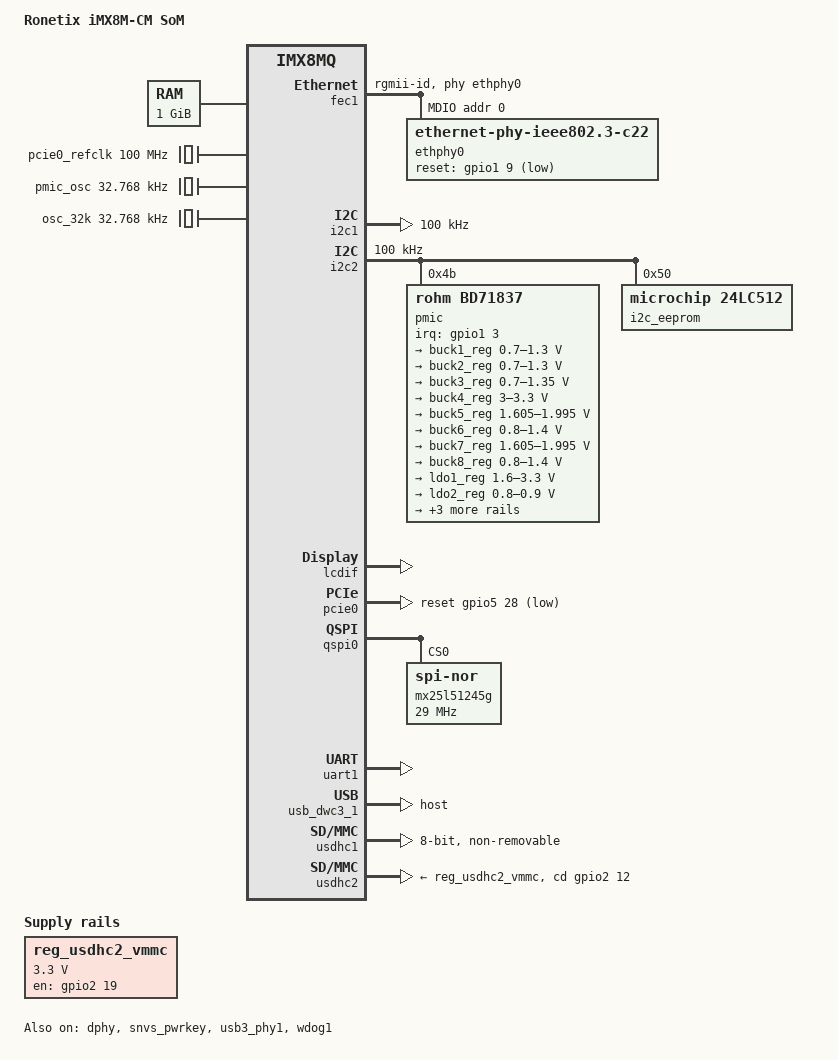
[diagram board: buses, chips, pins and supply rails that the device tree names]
// SPDX-License-Identifier: (GPL-2.0 OR MIT)
/*
 * Copyright 2017 NXP
 * Copyright (C) 2021 Ronetix, Ilko Iliev <iliev@ronetix.at>
 */

/dts-v1/;

#include "imx8mq.dtsi"

/ {
	model = "Ronetix iMX8M-CM SoM";
	compatible = "ronetix,imx8mq-cm", "fsl,imx8mq";

	chosen {
		stdout-path = &uart1;
	};

	memory@40000000 {
		device_type = "memory";
		reg = <0x00000000 0x40000000 0 0x40000000>;
	};

	pcie0_refclk: pcie0-refclk {
		compatible = "fixed-clock";
		#clock-cells = <0>;
		clock-frequency = <100000000>;
	};

	pmic_osc: clock-pmic {
		compatible = "fixed-clock";
		#clock-cells = <0>;
		clock-frequency = <32768>;
		clock-output-names = "pmic_osc";
	};

	osc_32k: clock-osc-32k {
		compatible = "fixed-clock";
		#clock-cells = <0>;
		clock-frequency = <32768>;
		clock-output-names = "osc_32k";
	};

	reg_usdhc2_vmmc: regulator-vsd-3v3 {
		pinctrl-names = "default";
		pinctrl-0 = <&pinctrl_reg_usdhc2>;
		compatible = "regulator-fixed";
		regulator-name = "VSD_3V3";
		regulator-min-microvolt = <3300000>;
		regulator-max-microvolt = <3300000>;
		gpio = <&gpio2 19 GPIO_ACTIVE_HIGH>;
		enable-active-high;
	};
};

&A53_0 {
	cpu-supply = <&buck2_reg>;
};

&A53_1 {
	cpu-supply = <&buck2_reg>;
};

&A53_2 {
	cpu-supply = <&buck2_reg>;
};

&A53_3 {
	cpu-supply = <&buck2_reg>;
};

&ddrc {
	operating-points-v2 = <&ddrc_opp_table>;

	ddrc_opp_table: opp-table {
		compatible = "operating-points-v2";

		opp-25M {
			opp-hz = /bits/ 64 <25000000>;
		};

		opp-100M {
			opp-hz = /bits/ 64 <100000000>;
		};

		/*
		 * On imx8mq B0 PLL can't be bypassed so low bus is 166M
		 */
		opp-166M {
			opp-hz = /bits/ 64 <166935483>;
		};

		opp-800M {
			opp-hz = /bits/ 64 <800000000>;
		};
	};
};

&dphy {
	status = "okay";
};

&fec1 {
	pinctrl-names = "default";
	pinctrl-0 = <&pinctrl_fec1>;
	phy-mode = "rgmii-id";
	phy-handle = <&ethphy0>;
	fsl,magic-packet;
	status = "okay";

	mdio {
		#address-cells = <1>;
		#size-cells = <0>;

		ethphy0: ethernet-phy@0 {
			compatible = "ethernet-phy-ieee802.3-c22";
			reg = <0>;
			reset-gpios = <&gpio1 9 GPIO_ACTIVE_LOW>;
			reset-assert-us = <10000>;
		};
	};
};

&i2c1 {
	clock-frequency = <100000>;
	pinctrl-names = "default";
	pinctrl-0 = <&pinctrl_i2c1>;
	status = "okay";
};

&i2c2 {
	clock-frequency = <100000>;
	pinctrl-names = "default";
	pinctrl-0 = <&pinctrl_i2c2>;
	status = "okay";

	pmic@4b {
		compatible = "rohm,bd71837";
		reg = <0x4b>;
		pinctrl-names = "default";
		pinctrl-0 = <&pinctrl_pmic>;
		interrupt-parent = <&gpio1>;
		interrupts = <3 IRQ_TYPE_LEVEL_LOW>;
		rohm,reset-snvs-powered;

		#clock-cells = <0>;
		clocks = <&osc_32k 0>;
		clock-output-names = "clk-32k-out";

		regulators {
			buck1_reg: BUCK1 {
				regulator-name = "buck1";
				regulator-min-microvolt = <700000>;
				regulator-max-microvolt = <1300000>;
				regulator-boot-on;
				regulator-always-on;
				regulator-ramp-delay = <1250>;
			};

			buck2_reg: BUCK2 {
				regulator-name = "buck2";
				regulator-min-microvolt = <700000>;
				regulator-max-microvolt = <1300000>;
				regulator-boot-on;
				regulator-always-on;
				regulator-ramp-delay = <1250>;
				rohm,dvs-run-voltage = <1000000>;
				rohm,dvs-idle-voltage = <900000>;
			};

			buck3_reg: BUCK3 {
				// BUCK5 in datasheet
				regulator-name = "buck3";
				regulator-min-microvolt = <700000>;
				regulator-max-microvolt = <1350000>;
				regulator-boot-on;
				regulator-always-on;
			};

			buck4_reg: BUCK4 {
				// BUCK6 in datasheet
				regulator-name = "buck4";
				regulator-min-microvolt = <3000000>;
				regulator-max-microvolt = <3300000>;
				regulator-boot-on;
				regulator-always-on;
			};

			buck5_reg: BUCK5 {
				// BUCK7 in datasheet
				regulator-name = "buck5";
				regulator-min-microvolt = <1605000>;
				regulator-max-microvolt = <1995000>;
				regulator-boot-on;
				regulator-always-on;
			};

			buck6_reg: BUCK6 {
				// BUCK8 in datasheet
				regulator-name = "buck6";
				regulator-min-microvolt = <800000>;
				regulator-max-microvolt = <1400000>;
				regulator-boot-on;
				regulator-always-on;
			};

			buck7_reg: BUCK7 {
				regulator-name = "buck7";
				regulator-min-microvolt = <1605000>;
				regulator-max-microvolt = <1995000>;
				regulator-boot-on;
			};

			buck8_reg: BUCK8 {
				regulator-name = "buck8";
				regulator-min-microvolt = <800000>;
				regulator-max-microvolt = <1400000>;
				regulator-boot-on;
			};

			ldo1_reg: LDO1 {
				regulator-name = "ldo1";
				regulator-min-microvolt = <1600000>;
				regulator-max-microvolt = <3300000>;
				regulator-boot-on;
				regulator-always-on;
			};

			ldo2_reg: LDO2 {
				regulator-name = "ldo2";
				regulator-min-microvolt = <800000>;
				regulator-max-microvolt = <900000>;
				regulator-boot-on;
				regulator-always-on;
			};

			ldo3_reg: LDO3 {
				regulator-name = "ldo3";
				regulator-min-microvolt = <1800000>;
				regulator-max-microvolt = <3300000>;
				regulator-boot-on;
				regulator-always-on;
			};

			ldo4_reg: LDO4 {
				regulator-name = "ldo4";
				regulator-min-microvolt = <900000>;
				regulator-max-microvolt = <1800000>;
				regulator-boot-on;
				regulator-always-on;
			};

			ldo6_reg: LDO6 {
				regulator-name = "ldo6";
				regulator-min-microvolt = <900000>;
				regulator-max-microvolt = <1800000>;
				regulator-boot-on;
				regulator-always-on;
			};
		};
	};

	i2c_eeprom: i2c_eeprom@50 {
		compatible = "microchip,24lc512";
		reg = <0x50>;
		pagesize = <128>;
	};
};

&lcdif {
	status = "okay";
};

&pcie0 {
	pinctrl-names = "default";
	pinctrl-0 = <&pinctrl_pcie0>;
	reset-gpio = <&gpio5 28 GPIO_ACTIVE_LOW>;
	clocks = <&clk IMX8MQ_CLK_PCIE1_ROOT>,
		 <&clk IMX8MQ_CLK_PCIE1_AUX>,
		 <&clk IMX8MQ_CLK_PCIE1_PHY>,
		 <&pcie0_refclk>;
	clock-names = "pcie", "pcie_aux", "pcie_phy", "pcie_bus";
	status = "okay";
};

&pgc_gpu {
	power-supply = <&buck3_reg>;
};

&qspi0 {
	pinctrl-names = "default";
	pinctrl-0 = <&pinctrl_qspi>;
	status = "okay";

	mx25l51245g: flash@0 {
		reg = <0>;
		#address-cells = <1>;
		#size-cells = <1>;
		compatible = "jedec,spi-nor";
		spi-max-frequency = <29000000>;
	};
};

&snvs_pwrkey {
	status = "okay";
};

&uart1 {
	pinctrl-names = "default";
	pinctrl-0 = <&pinctrl_uart1>;
	status = "okay";
};

&usb3_phy1 {
	status = "okay";
};

&usb_dwc3_1 {
	dr_mode = "host";
	status = "okay";
};

&usdhc1 {
	assigned-clocks = <&clk IMX8MQ_CLK_USDHC1>;
	assigned-clock-rates = <400000000>;
	pinctrl-names = "default", "state_100mhz", "state_200mhz";
	pinctrl-0 = <&pinctrl_usdhc1>;
	pinctrl-1 = <&pinctrl_usdhc1_100mhz>;
	pinctrl-2 = <&pinctrl_usdhc1_200mhz>;
	vqmmc-supply = <&buck7_reg>;
	bus-width = <8>;
	non-removable;
	no-sd;
	no-sdio;
	status = "okay";
};

&usdhc2 {
	assigned-clocks = <&clk IMX8MQ_CLK_USDHC2>;
	assigned-clock-rates = <200000000>;
	pinctrl-names = "default", "state_100mhz", "state_200mhz";
	pinctrl-0 = <&pinctrl_usdhc2>, <&pinctrl_usdhc2_gpio>;
	pinctrl-1 = <&pinctrl_usdhc2_100mhz>, <&pinctrl_usdhc2_gpio>;
	pinctrl-2 = <&pinctrl_usdhc2_200mhz>, <&pinctrl_usdhc2_gpio>;
	cd-gpios = <&gpio2 12 GPIO_ACTIVE_HIGH>;
	vmmc-supply = <&reg_usdhc2_vmmc>;
	status = "okay";
};

&wdog1 {
	pinctrl-names = "default";
	pinctrl-0 = <&pinctrl_wdog>;
	fsl,ext-reset-output;
	status = "okay";
};

&iomuxc {
	pinctrl_buck2: vddarmgrp {
		fsl,pins = <
			MX8MQ_IOMUXC_GPIO1_IO13_GPIO1_IO13		0x19
		>;

	};

	pinctrl_fec1: fec1grp {
		fsl,pins = <
			MX8MQ_IOMUXC_ENET_MDC_ENET1_MDC			0x3
			MX8MQ_IOMUXC_ENET_MDIO_ENET1_MDIO		0x23
			MX8MQ_IOMUXC_ENET_TD3_ENET1_RGMII_TD3		0x1f
			MX8MQ_IOMUXC_ENET_TD2_ENET1_RGMII_TD2		0x1f
			MX8MQ_IOMUXC_ENET_TD1_ENET1_RGMII_TD1		0x1f
			MX8MQ_IOMUXC_ENET_TD0_ENET1_RGMII_TD0		0x1f
			MX8MQ_IOMUXC_ENET_RD3_ENET1_RGMII_RD3		0x91
			MX8MQ_IOMUXC_ENET_RD2_ENET1_RGMII_RD2		0x91
			MX8MQ_IOMUXC_ENET_RD1_ENET1_RGMII_RD1		0x91
			MX8MQ_IOMUXC_ENET_RD0_ENET1_RGMII_RD0		0x91
			MX8MQ_IOMUXC_ENET_TXC_ENET1_RGMII_TXC		0x1f
			MX8MQ_IOMUXC_ENET_RXC_ENET1_RGMII_RXC		0x91
			MX8MQ_IOMUXC_ENET_RX_CTL_ENET1_RGMII_RX_CTL	0x91
			MX8MQ_IOMUXC_ENET_TX_CTL_ENET1_RGMII_TX_CTL	0x1f
			MX8MQ_IOMUXC_GPIO1_IO09_GPIO1_IO9		0x19
		>;
	};

	pinctrl_i2c1: i2c1grp {
		fsl,pins = <
			MX8MQ_IOMUXC_I2C1_SCL_I2C1_SCL			0x4000007f
			MX8MQ_IOMUXC_I2C1_SDA_I2C1_SDA			0x4000007f
		>;
	};

	pinctrl_i2c2: i2c2grp {
		fsl,pins = <
			MX8MQ_IOMUXC_I2C2_SCL_I2C2_SCL	0x40000067
			MX8MQ_IOMUXC_I2C2_SDA_I2C2_SDA	0x40000067
		>;
	};

	pinctrl_pcie0: pcie0grp {
		fsl,pins = <
			MX8MQ_IOMUXC_I2C4_SCL_PCIE1_CLKREQ_B		0x76
			MX8MQ_IOMUXC_UART4_RXD_GPIO5_IO28		0x16
		>;
	};

	pinctrl_pmic: pmicgrp {
		fsl,pins = <
			MX8MQ_IOMUXC_GPIO1_IO07_GPIO1_IO7	0x80  /* PMIC intr */
		>;
	};

	pinctrl_qspi: qspigrp {
		fsl,pins = <
			MX8MQ_IOMUXC_NAND_ALE_QSPI_A_SCLK	0x82
			MX8MQ_IOMUXC_NAND_CE0_B_QSPI_A_SS0_B	0x82
			MX8MQ_IOMUXC_NAND_DATA00_QSPI_A_DATA0	0x82
			MX8MQ_IOMUXC_NAND_DATA01_QSPI_A_DATA1	0x82
			MX8MQ_IOMUXC_NAND_DATA02_QSPI_A_DATA2	0x82
			MX8MQ_IOMUXC_NAND_DATA03_QSPI_A_DATA3	0x82

		>;
	};

	pinctrl_reg_usdhc2: regusdhc2gpiogrp {
		fsl,pins = <
			MX8MQ_IOMUXC_SD2_RESET_B_GPIO2_IO19		0x41
		>;
	};

	pinctrl_uart1: uart1grp {
		fsl,pins = <
			MX8MQ_IOMUXC_UART1_RXD_UART1_DCE_RX		0x49
			MX8MQ_IOMUXC_UART1_TXD_UART1_DCE_TX		0x49
		>;
	};

	pinctrl_usdhc1: usdhc1grp {
		fsl,pins = <
			MX8MQ_IOMUXC_SD1_CLK_USDHC1_CLK			0x83
			MX8MQ_IOMUXC_SD1_CMD_USDHC1_CMD			0xc3
			MX8MQ_IOMUXC_SD1_DATA0_USDHC1_DATA0		0xc3
			MX8MQ_IOMUXC_SD1_DATA1_USDHC1_DATA1		0xc3
			MX8MQ_IOMUXC_SD1_DATA2_USDHC1_DATA2		0xc3
			MX8MQ_IOMUXC_SD1_DATA3_USDHC1_DATA3		0xc3
			MX8MQ_IOMUXC_SD1_DATA4_USDHC1_DATA4		0xc3
			MX8MQ_IOMUXC_SD1_DATA5_USDHC1_DATA5		0xc3
			MX8MQ_IOMUXC_SD1_DATA6_USDHC1_DATA6		0xc3
			MX8MQ_IOMUXC_SD1_DATA7_USDHC1_DATA7		0xc3
			MX8MQ_IOMUXC_SD1_STROBE_USDHC1_STROBE		0x83
			MX8MQ_IOMUXC_SD1_RESET_B_USDHC1_RESET_B		0xc1
		>;
	};

	pinctrl_usdhc1_100mhz: usdhc1-100grp {
		fsl,pins = <
			MX8MQ_IOMUXC_SD1_CLK_USDHC1_CLK			0x8d
			MX8MQ_IOMUXC_SD1_CMD_USDHC1_CMD			0xcd
			MX8MQ_IOMUXC_SD1_DATA0_USDHC1_DATA0		0xcd
			MX8MQ_IOMUXC_SD1_DATA1_USDHC1_DATA1		0xcd
			MX8MQ_IOMUXC_SD1_DATA2_USDHC1_DATA2		0xcd
			MX8MQ_IOMUXC_SD1_DATA3_USDHC1_DATA3		0xcd
			MX8MQ_IOMUXC_SD1_DATA4_USDHC1_DATA4		0xcd
			MX8MQ_IOMUXC_SD1_DATA5_USDHC1_DATA5		0xcd
			MX8MQ_IOMUXC_SD1_DATA6_USDHC1_DATA6		0xcd
			MX8MQ_IOMUXC_SD1_DATA7_USDHC1_DATA7		0xcd
			MX8MQ_IOMUXC_SD1_STROBE_USDHC1_STROBE		0x8d
			MX8MQ_IOMUXC_SD1_RESET_B_USDHC1_RESET_B		0xc1
		>;
	};

	pinctrl_usdhc1_200mhz: usdhc1-200grp {
		fsl,pins = <
			MX8MQ_IOMUXC_SD1_CLK_USDHC1_CLK			0x9f
			MX8MQ_IOMUXC_SD1_CMD_USDHC1_CMD			0xdf
			MX8MQ_IOMUXC_SD1_DATA0_USDHC1_DATA0		0xdf
			MX8MQ_IOMUXC_SD1_DATA1_USDHC1_DATA1		0xdf
			MX8MQ_IOMUXC_SD1_DATA2_USDHC1_DATA2		0xdf
			MX8MQ_IOMUXC_SD1_DATA3_USDHC1_DATA3		0xdf
			MX8MQ_IOMUXC_SD1_DATA4_USDHC1_DATA4		0xdf
			MX8MQ_IOMUXC_SD1_DATA5_USDHC1_DATA5		0xdf
			MX8MQ_IOMUXC_SD1_DATA6_USDHC1_DATA6		0xdf
			MX8MQ_IOMUXC_SD1_DATA7_USDHC1_DATA7		0xdf
			MX8MQ_IOMUXC_SD1_STROBE_USDHC1_STROBE		0x9f
			MX8MQ_IOMUXC_SD1_RESET_B_USDHC1_RESET_B		0xc1
		>;
	};

	pinctrl_usdhc2_gpio: usdhc2grpgpiogrp {
		fsl,pins = <
			MX8MQ_IOMUXC_SD2_CD_B_GPIO2_IO12		0x41
		>;
	};

	pinctrl_usdhc2: usdhc2grp {
		fsl,pins = <
			MX8MQ_IOMUXC_SD2_CLK_USDHC2_CLK			0x83
			MX8MQ_IOMUXC_SD2_CMD_USDHC2_CMD			0xc3
			MX8MQ_IOMUXC_SD2_DATA0_USDHC2_DATA0		0xc3
			MX8MQ_IOMUXC_SD2_DATA1_USDHC2_DATA1		0xc3
			MX8MQ_IOMUXC_SD2_DATA2_USDHC2_DATA2		0xc3
			MX8MQ_IOMUXC_SD2_DATA3_USDHC2_DATA3		0xc3
			MX8MQ_IOMUXC_GPIO1_IO04_USDHC2_VSELECT		0xc1
		>;
	};

	pinctrl_usdhc2_100mhz: usdhc2-100grp {
		fsl,pins = <
			MX8MQ_IOMUXC_SD2_CLK_USDHC2_CLK			0x85
			MX8MQ_IOMUXC_SD2_CMD_USDHC2_CMD			0xc5
			MX8MQ_IOMUXC_SD2_DATA0_USDHC2_DATA0		0xc5
			MX8MQ_IOMUXC_SD2_DATA1_USDHC2_DATA1		0xc5
			MX8MQ_IOMUXC_SD2_DATA2_USDHC2_DATA2		0xc5
			MX8MQ_IOMUXC_SD2_DATA3_USDHC2_DATA3		0xc5
			MX8MQ_IOMUXC_GPIO1_IO04_USDHC2_VSELECT		0xc1
		>;
	};

	pinctrl_usdhc2_200mhz: usdhc2-200grp {
		fsl,pins = <
			MX8MQ_IOMUXC_SD2_CLK_USDHC2_CLK			0x87
			MX8MQ_IOMUXC_SD2_CMD_USDHC2_CMD			0xc7
			MX8MQ_IOMUXC_SD2_DATA0_USDHC2_DATA0		0xc7
			MX8MQ_IOMUXC_SD2_DATA1_USDHC2_DATA1		0xc7
			MX8MQ_IOMUXC_SD2_DATA2_USDHC2_DATA2		0xc7
			MX8MQ_IOMUXC_SD2_DATA3_USDHC2_DATA3		0xc7
			MX8MQ_IOMUXC_GPIO1_IO04_USDHC2_VSELECT		0xc1
		>;
	};

	pinctrl_wdog: wdog1grp {
		fsl,pins = <
			MX8MQ_IOMUXC_GPIO1_IO02_WDOG1_WDOG_B		0xc6
		>;
	};
};
